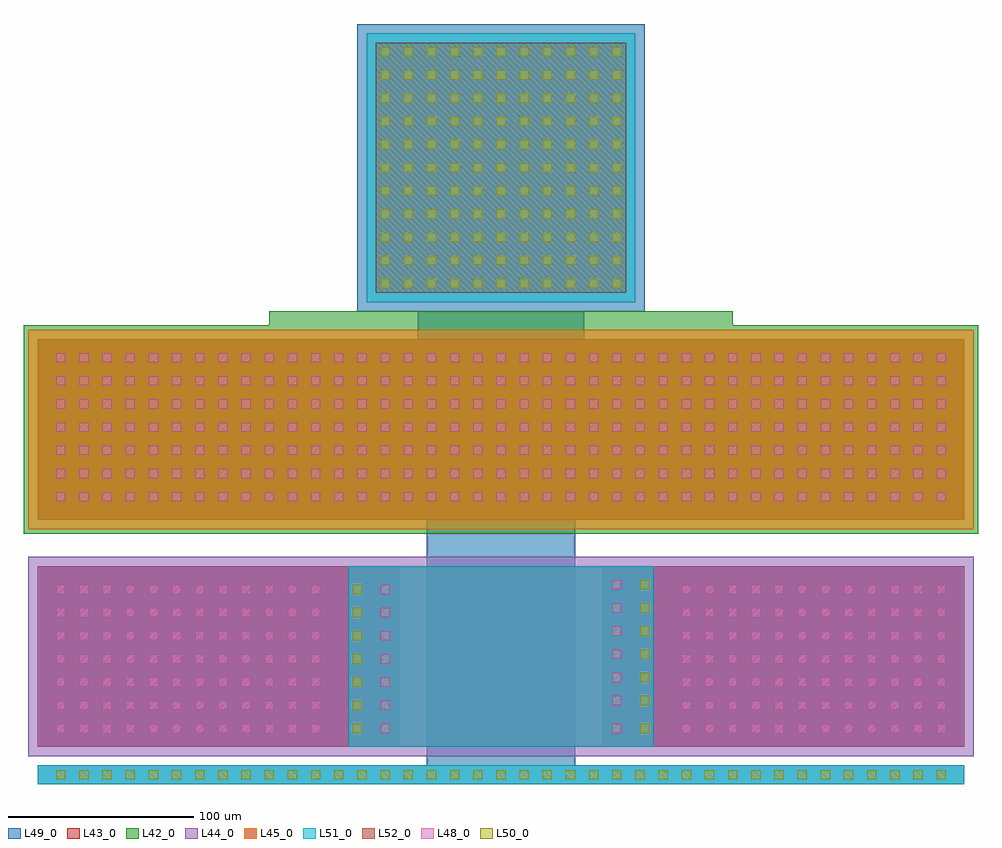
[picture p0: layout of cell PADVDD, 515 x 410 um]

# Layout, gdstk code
import gdstk
lib = gdstk.Library(unit=1e-6, precision=1e-09)
def R(c, l, rs):  # rectangles x0, y0, x1, y1
    for r in rs: c.add(gdstk.rectangle(r[:2], r[2:], *l))
def A(c, l, x, y, w, h, nx, ny, dx, dy):  # array of equal rectangles
    R(c, l, [(x+i*dx, y+j*dy, x+i*dx+w, y+j*dy+h) for i in range(nx) for j in range(ny)])
def P(c, l, *ps):  # polygons
    for p in ps: c.add(gdstk.Polygon(p, *l))
L42_0 = (42, 0)
L43_0 = (43, 0)
L44_0 = (44, 0)
L45_0 = (45, 0)
L48_0 = (48, 0)
L49_0 = (49, 0)
L50_0 = (50, 0)
L51_0 = (51, 0)
L52_0 = (52, 0)

padvdd = lib.new_cell('PADVDD')
P(padvdd, L42_0, [(0,125),(0,237.5),(132.5,237.5),(132.5,245),(382.5,245),(382.5,237.5),(515,237.5),(515,125)])
R(padvdd, L43_0, [(7.5,10,507.5,107.5), (7.5,132.5,507.5,230)])
R(padvdd, L44_0, [(2.5,5,512.5,112.5)])
R(padvdd, L45_0, [(2.5,127.5,512.5,235)])
A(padvdd, L48_0, 17.5, 17.5, 5, 5, 12, 7, 12.5, 12.5)
A(padvdd, L48_0, 192.5, 17.5, 5, 5, 1, 7, 0, 12.5)
A(padvdd, L48_0, 355, 17.5, 5, 5, 12, 7, 12.5, 12.5)
A(padvdd, L48_0, 317.5, 32.5, 5, 5, 1, 6, 0, 12.5)
A(padvdd, L48_0, 17.5, 142.5, 5, 5, 39, 7, 12.5, 12.5)
R(padvdd, L48_0, [(317.5,17.5,322.5,22.5)])
R(padvdd, L49_0, [(7.5,-10,507.5,0), (217.5,0,297.5,22.5), (7.5,10,202.5,107.5), (217.5,10,297.5,22.5), (312.5,10,507.5,107.5), (7.5,132.5,507.5,230), (212.5,132.5,302.5,245), (180,245,335,400)])
P(padvdd, L49_0, [(217.5,22.5),(217.5,132.5),(212.5,132.5),(212.5,137.5),(302.5,137.5),(302.5,132.5),(297.5,132.5),(297.5,22.5)])
A(padvdd, L50_0, 17.5, -7.5, 5, 5, 39, 1, 12.5, 0)
A(padvdd, L50_0, 177.5, 17.5, 5, 5, 1, 7, 0, 12.5)
A(padvdd, L50_0, 332.5, 32.5, 5, 5, 1, 6, 0, 12.5)
A(padvdd, L50_0, 192.5, 257.5, 5, 5, 11, 11, 12.5, 12.5)
R(padvdd, L50_0, [(332.5,17.5,337.5,22.5)])
R(padvdd, L51_0, [(7.5,-10,507.5,0), (175,10,340,107.5), (185,250,330,395)])
R(padvdd, L52_0, [(190,255,325,390)])

lib.write_gds('PADVDD.gds')
